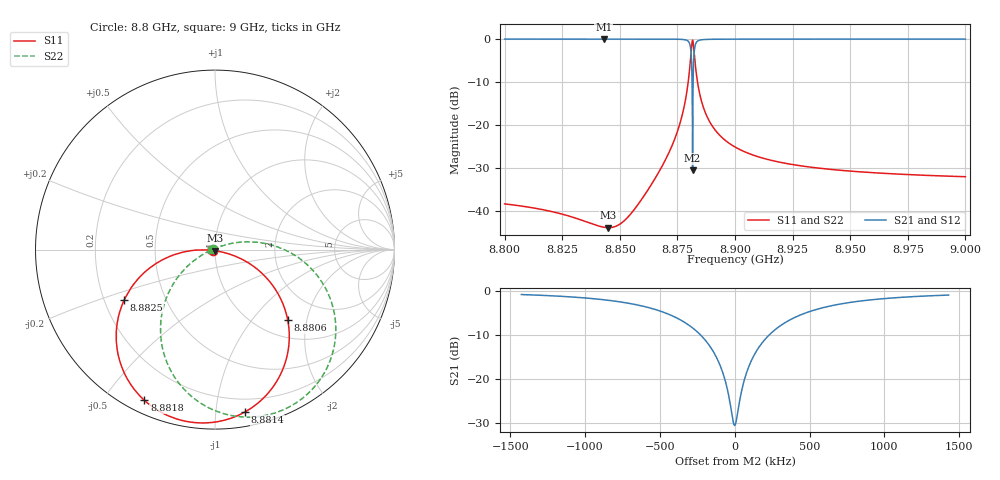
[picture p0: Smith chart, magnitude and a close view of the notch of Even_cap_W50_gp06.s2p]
! Sonnet Data File
! From: emgraph Version : 16.52
! From Project: Resonator2_cp_varyW
! Data is De-embedded
! Data File Written: 10/07/2017 09:25:24
!< HDATE 10/06/2017 17:18:21
!< MDATE 10/06/2017 17:18:21
!< PARAMS
!< gap = 6.0
!< Length = 400.0
!< Pwid1 = 2000.0
!< Pwid2 = 2000.0
!< Air_gap = 30.0
!< Width = 50.0
!< END PARAMS
# GHZ S MA R 51.80000
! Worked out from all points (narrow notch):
!   1595 points, 8.8 GHz to 9 GHz, reference 51.8 ohm
!   highest |S21| = 0.00 dB at 8.843 GHz (marker M1); lowest = -30.6 dB at 8.8816 GHz (marker M2)
!   notch at M2: 30.6 dB deep, 239 kHz wide at half that depth
!   lowest |S11| = -43.9 dB at 8.845 GHz (marker M3), VSWR 1.01, Z = 51.7 - j0.652 ohm
!   |S11| at or under -10 dB: start of sweep to 8.8797 GHz; 8.8837 GHz to end of sweep
!   |S22| runs from -43.9 to -0.3 dB; largest |S21 - S12| = 0
!   S11 on the Smith chart (normalised r, x): 8.8 GHz: 0.98, -0.01; 8.8806 GHz: 1.34, -1.55; 8.8814 GHz: 0.10, -1.20; 8.8818 GHz: 0.05, -0.63; 8.8825 GHz: 0.28, -0.24; 9 GHz: 0.95, -0.01
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8.8  0.01204 -154.8  0.9999 -81.3  0.9999 -81.3  0.01204 172.1
!< P1 F=8.8 Eeff=(6.4404796 -2.969e-5) Z0=(50.4071347 1.16291e-4) R=0.0 C=0.0
!< P2 F=8.8 Eeff=(6.4404796 -2.969e-5) Z0=(50.4071347 1.16291e-4) R=0.0 C=0.0
8.8334  0.007789 -132.5  1 -82.0  1 -82.0  0.007782 148.6
8.843  0.006445 -106.6  1 -82.3  1 -82.3  0.006431 122.1
8.845  0.006367 -98.1  1 -82.3  1 -82.3  0.006351 113.5
8.8536  0.008493 -56.7  0.9999 -82.7  0.9999 -82.7  0.008471 71.1
8.866702  0.02757 -22.8  0.9996 -84.1  0.9996 -84.1  0.02754 34.4
8.875994  0.1017 -17.6  0.9944 -88.5  0.9944 -88.5  0.1017 20.2
8.8794  0.2775 -25.9  0.958 -98.8  0.958 -98.8  0.2774 7.2
8.880643  0.5643 -44.1  0.8132 -117.0  0.8132 -117.0  0.5641 -12.5
8.881358  0.9197 -79.5  0.32 -149.0  0.32 -149.0  0.9193 -48.7
8.881496  0.9618 -90.3  0.1368 -152.6  0.1368 -152.6  0.9614 -59.7
8.88159  0.9706 -98.0  0.02954 -81.7  0.02954 -81.7  0.9703 -67.4
8.881678  0.9632 -105.1  0.1281 -13.0  0.1281 -13.0  0.9628 -74.6
8.881806  0.9276 -115.1  0.297 -15.3  0.297 -15.3  0.9272 -84.7
8.882084  0.7951 -132.8  0.575 -30.1  0.575 -30.1  0.7948 -102.7
8.882549  0.5794 -150.9  0.8031 -47.3  0.8031 -47.3  0.5792 -121.3
8.884038  0.2815 -170.0  0.9574 -66.4  0.9574 -66.4  0.2814 -141.9
8.887802  0.1262 -177.8  0.9917 -75.5  0.9917 -75.5  0.1261 -152.9
8.9  0.05539 -178.4  0.9984 -79.7  0.9984 -79.7  0.05538 -161.0
8.9334  0.0321 -175.2  0.9995 -81.3  0.9995 -81.3  0.0321 -167.5
8.9668  0.02712 -173.6  0.9996 -82.0  0.9996 -82.0  0.02712 -170.3
9  0.02496 -172.8  0.9997 -82.4  0.9997 -82.4  0.02495 -171.9
